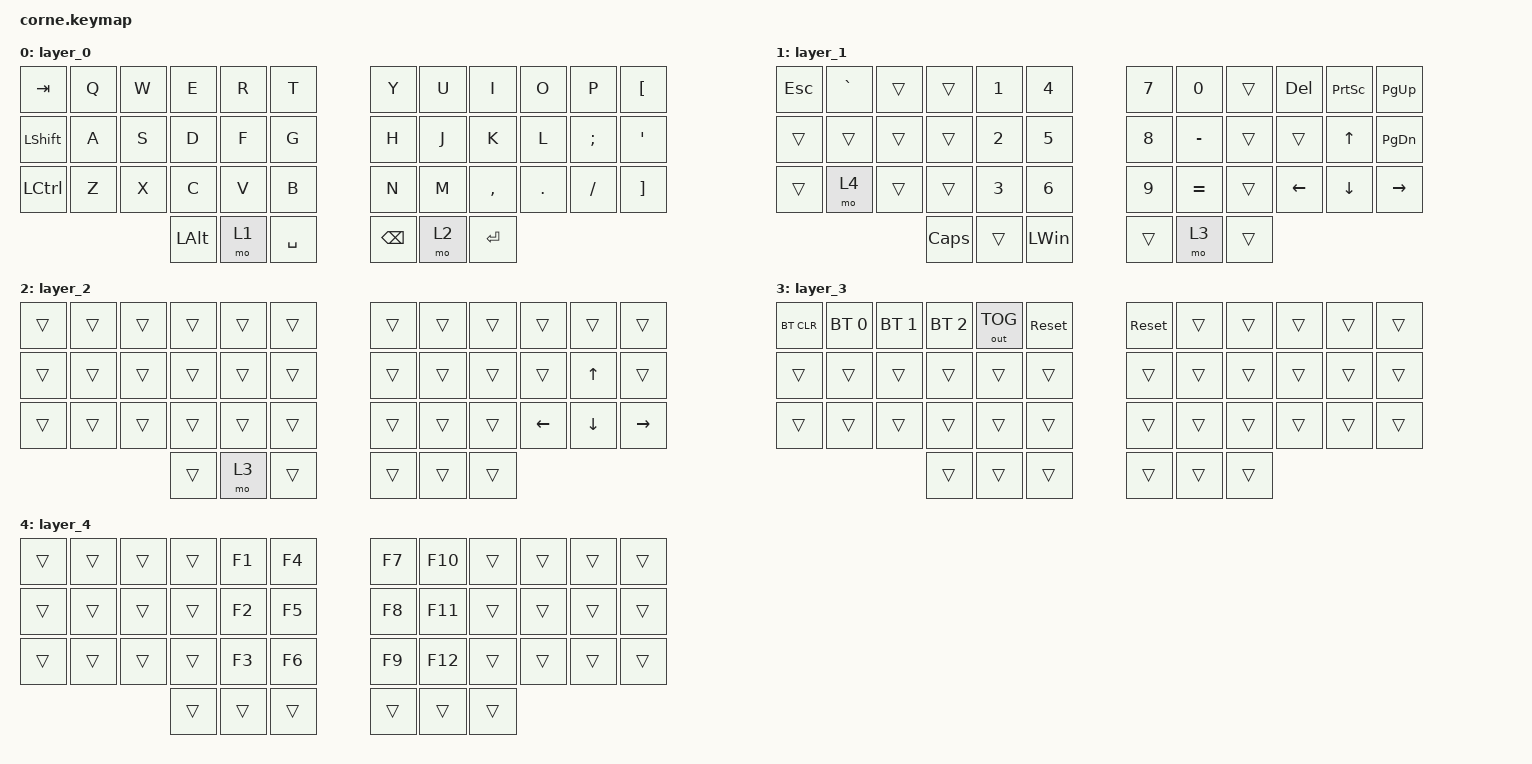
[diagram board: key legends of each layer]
#include <behaviors.dtsi>
#include <dt-bindings/zmk/bt.h>
#include <dt-bindings/zmk/keys.h>
#include <dt-bindings/zmk/outputs.h>

/ {
    keymap {
        compatible = "zmk,keymap";

        layer_0 {
            bindings = <
&kp TAB    &kp Q  &kp W  &kp E     &kp R  &kp T        &kp Y     &kp U  &kp I      &kp O    &kp P     &kp LBKT
&kp LSHFT  &kp A  &kp S  &kp D     &kp F  &kp G        &kp H     &kp J  &kp K      &kp L    &kp SEMI  &kp SQT
&kp LCTRL  &kp Z  &kp X  &kp C     &kp V  &kp B        &kp N     &kp M  &kp COMMA  &kp DOT  &kp FSLH  &kp RBKT
                         &kp LALT  &mo 1  &kp SPACE    &kp BSPC  &mo 2  &kp RET
            >;
        };

        layer_1 {
            bindings = <
&kp ESC  &kp GRAVE  &trans  &trans    &kp N1  &kp N4          &kp N7  &kp N0     &trans  &kp DEL   &kp PRINTSCREEN  &kp PG_UP
&trans   &trans     &trans  &trans    &kp N2  &kp N5          &kp N8  &kp MINUS  &trans  &trans    &kp UP           &kp PG_DN
&trans   &mo 4      &trans  &trans    &kp N3  &kp N6          &kp N9  &kp EQUAL  &trans  &kp LEFT  &kp DOWN         &kp RIGHT
                            &kp CAPS  &trans  &kp LEFT_WIN    &trans  &mo 3      &trans
            >;
        };

        layer_2 {
            bindings = <
&trans  &trans  &trans  &trans  &trans  &trans    &trans  &trans  &trans  &trans    &trans    &trans
&trans  &trans  &trans  &trans  &trans  &trans    &trans  &trans  &trans  &trans    &kp UP    &trans
&trans  &trans  &trans  &trans  &trans  &trans    &trans  &trans  &trans  &kp LEFT  &kp DOWN  &kp RIGHT
                        &trans  &mo 3   &trans    &trans  &trans  &trans
            >;
        };

        layer_3 {
            bindings = <
&bt BT_CLR  &bt BT_SEL 0  &bt BT_SEL 1  &bt BT_SEL 2  &out OUT_TOG  &sys_reset    &sys_reset  &trans  &trans  &trans  &trans  &trans
&trans      &trans        &trans        &trans        &trans        &trans        &trans      &trans  &trans  &trans  &trans  &trans
&trans      &trans        &trans        &trans        &trans        &trans        &trans      &trans  &trans  &trans  &trans  &trans
                                        &trans        &trans        &trans        &trans      &trans  &trans
            >;
        };

        layer_4 {
            bindings = <
&trans  &trans  &trans  &trans  &kp F1  &kp F4    &kp F7  &kp F10  &trans  &trans  &trans  &trans
&trans  &trans  &trans  &trans  &kp F2  &kp F5    &kp F8  &kp F11  &trans  &trans  &trans  &trans
&trans  &trans  &trans  &trans  &kp F3  &kp F6    &kp F9  &kp F12  &trans  &trans  &trans  &trans
                        &trans  &trans  &trans    &trans  &trans   &trans
            >;
        };
    };
};
